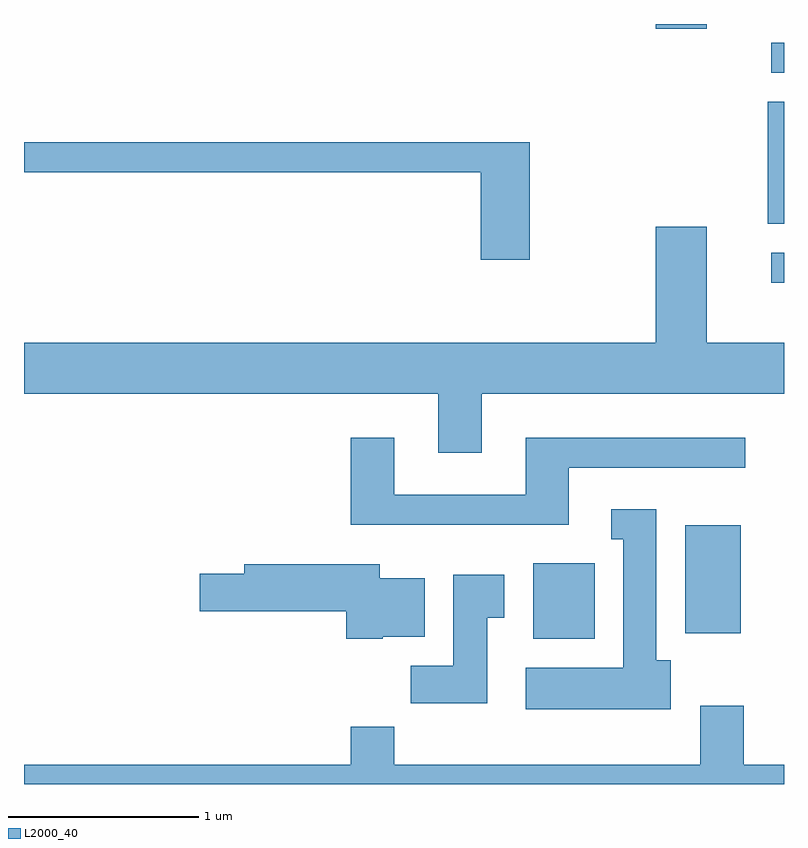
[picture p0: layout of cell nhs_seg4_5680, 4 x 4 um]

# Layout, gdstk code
import gdstk
lib = gdstk.Library(unit=1e-6, precision=1e-09)
def R(c, l, rs):  # rectangles x0, y0, x1, y1
    for r in rs: c.add(gdstk.rectangle(r[:2], r[2:], *l))
def P(c, l, *ps):  # polygons
    for p in ps: c.add(gdstk.Polygon(p, *l))
L2000_40 = (2000, 40)

nhs_seg4_5680 = lib.new_cell('nhs_seg4_5680')
R(nhs_seg4_5680, L2000_40, [(354.291,1326.746,354.614,1327.144), (355.091,1326.776,355.384,1327.344), (355.543,1328.621,355.611,1328.779), (355.526,1328.931,355.611,1329.574), (355.543,1329.726,355.611,1329.884), (354.936,1329.956,355.204,1329.982)])
P(nhs_seg4_5680, L2000_40, [(354.274,1329.359),(351.611,1329.359),(351.611,1329.201),(354.016,1329.201),(354.016,1328.741),(354.274,1328.741)],
  [(354.019,1328.036),(355.611,1328.036),(355.611,1328.304),(355.204,1328.304),(355.204,1328.914),(354.936,1328.914),(354.936,1328.304),(351.611,1328.304),(351.611,1328.036),(353.791,1328.036),(353.791,1327.726),(354.019,1327.726)],
  [(354.479,1327.646),(355.408,1327.646),(355.408,1327.804),(354.251,1327.804),(354.251,1327.504),(353.559,1327.504),(353.559,1327.804),(353.331,1327.804),(353.331,1327.346),(354.479,1327.346)],
  [(355.014,1326.634),(354.939,1326.634),(354.939,1327.429),(354.703,1327.429),(354.703,1327.271),(354.766,1327.271),(354.766,1326.594),(354.251,1326.594),(354.251,1326.376),(355.014,1326.376)],
  [(353.5,1326.756),(353.719,1326.756),(353.719,1327.064),(353.484,1327.064),(353.484,1327.139),(352.771,1327.139),(352.771,1327.089),(352.536,1327.089),(352.536,1326.891),(353.306,1326.891),(353.306,1326.746),(353.5,1326.746)],
  [(354.049,1326.856),(354.139,1326.856),(354.139,1327.084),(353.871,1327.084),(353.871,1326.604),(353.646,1326.604),(353.646,1326.406),(354.049,1326.406)],
  [(355.611,1326.084),(355.399,1326.084),(355.399,1326.394),(355.171,1326.394),(355.171,1326.084),(353.559,1326.084),(353.559,1326.284),(353.331,1326.284),(353.331,1326.084),(351.611,1326.084),(351.611,1325.982),(355.611,1325.982)])

lib.write_gds('nhs_seg4_5680.gds')
